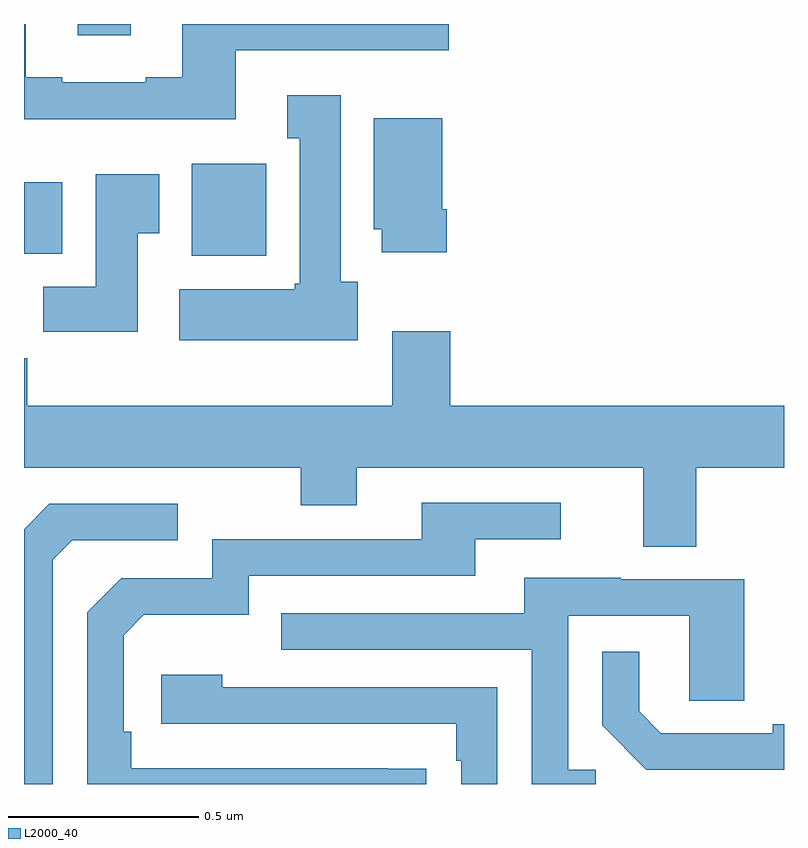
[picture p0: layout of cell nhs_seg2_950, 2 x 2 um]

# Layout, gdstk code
import gdstk
lib = gdstk.Library(unit=1e-6, precision=1e-09)
def R(c, l, rs):  # rectangles x0, y0, x1, y1
    for r in rs: c.add(gdstk.rectangle(r[:2], r[2:], *l))
def P(c, l, *ps):  # polygons
    for p in ps: c.add(gdstk.Polygon(p, *l))
L2000_40 = (2000, 40)

nhs_seg2_950 = lib.new_cell('nhs_seg2_950')
R(nhs_seg2_950, L2000_40, [(122.441,652.19,122.638,652.432), (122,652.196,122.101,652.384), (122.141,652.77,122.281,652.8)])
P(nhs_seg2_950, L2000_40, [(122.557,652.731),(123.118,652.731),(123.118,652.8),(122.417,652.8),(122.417,652.66),(122.321,652.66),(122.321,652.647),(122.101,652.647),(122.101,652.66),(122.005,652.66),(122.005,652.8),(122,652.8),(122,652.55),(122.557,652.55)],
  [(122.878,652.122),(122.833,652.122),(122.833,652.612),(122.693,652.612),(122.693,652.499),(122.726,652.499),(122.726,652.116),(122.713,652.116),(122.713,652.102),(122.409,652.102),(122.409,651.968),(122.878,651.968)],
  [(123.113,652.312),(123.1,652.312),(123.1,652.552),(122.921,652.552),(122.921,652.26),(122.942,652.26),(122.942,652.2),(123.113,652.2)],
  [(122.299,652.249),(122.356,652.249),(122.356,652.405),(122.189,652.405),(122.189,652.108),(122.05,652.108),(122.05,651.99),(122.299,651.99)],
  [(123.769,651.632),(124,651.632),(124,651.796),(123.122,651.796),(123.122,651.991),(122.969,651.991),(122.969,651.796),(122.009,651.796),(122.009,651.92),(122,651.92),(122,651.632),(122.728,651.632),(122.728,651.533),(122.875,651.533),(122.875,651.632),(123.629,651.632),(123.629,651.424),(123.769,651.424)],
  [(123.059,650.84),(122.957,650.84),(122.957,650.841),(122.282,650.841),(122.282,650.938),(122.262,650.938),(122.262,651.192),(122.315,651.245),(122.592,651.245),(122.592,651.348),(123.187,651.348),(123.187,651.444),(123.412,651.444),(123.412,651.54),(123.047,651.54),(123.047,651.444),(122.496,651.444),(122.496,651.342),(122.256,651.342),(122.166,651.252),(122.166,650.8),(123.059,650.8)],
  [(122.076,651.39),(122.127,651.441),(122.404,651.441),(122.404,651.537),(122.067,651.537),(122,651.47),(122,650.8),(122.076,650.8)],
  [(123.505,650.838),(123.432,650.838),(123.432,651.243),(123.75,651.243),(123.75,651.019),(123.895,651.019),(123.895,651.339),(123.571,651.339),(123.571,651.343),(123.317,651.343),(123.317,651.249),(122.677,651.249),(122.677,651.153),(123.336,651.153),(123.336,650.8),(123.505,650.8)],
  [(124,650.957),(123.971,650.957),(123.971,650.934),(123.676,650.934),(123.619,650.991),(123.619,651.148),(123.522,651.148),(123.522,650.954),(123.638,650.838),(124,650.838)],
  [(123.246,651.054),(122.522,651.054),(122.522,651.088),(122.361,651.088),(122.361,650.958),(123.137,650.958),(123.137,650.861),(123.15,650.861),(123.15,650.8),(123.246,650.8)])

lib.write_gds('nhs_seg2_950.gds')
